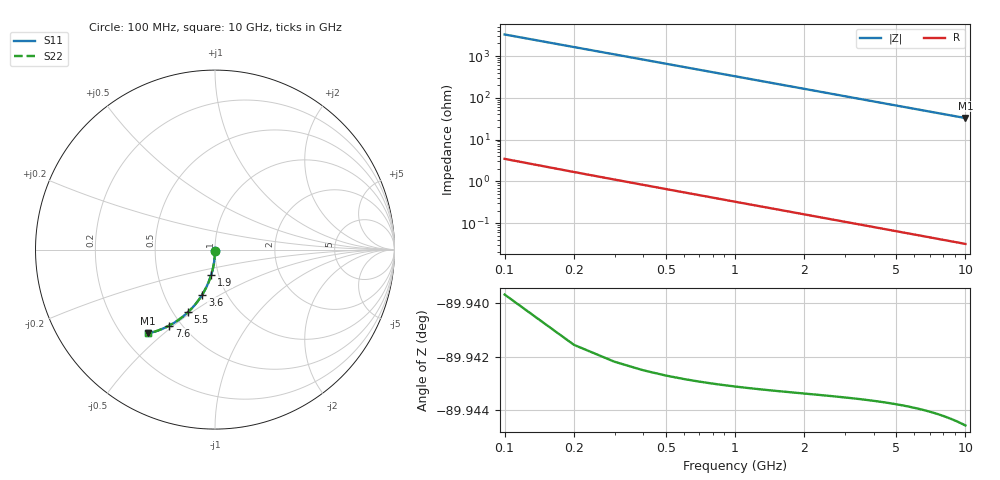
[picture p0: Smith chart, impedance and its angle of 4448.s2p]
# Hz S RI R 50.00
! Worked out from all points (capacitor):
!   100 points, 100 MHz to 10 GHz, reference 50 ohm
!   read as one part in shunt: C = 486 fF near 100 MHz
!   lowest |Z| = 32.8 ohm at 10 GHz (marker M1)
!   S11 on the Smith chart (normalised r, x): 100 MHz: 1.00, -0.01; 1.9 GHz: 0.92, -0.26; 3.6 GHz: 0.77, -0.41; 5.5 GHz: 0.59, -0.48; 7.6 GHz: 0.43, -0.48; 10 GHz: 0.31, -0.44
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1e8  -3.82e-05 -0.00747  0.9999 -0.00778  0.9999 -0.00778  -3.82e-05 -0.00747
2e8  -0.00022 -0.0149  0.9997 -0.0156  0.9997 -0.0156  -0.00022 -0.0149
3e8  -0.000518 -0.0224  0.9994 -0.0233  0.9994 -0.0233  -0.000518 -0.0224
4e8  -0.000932 -0.0299  0.999 -0.0311  0.999 -0.0311  -0.000932 -0.0299
5e8  -0.00146 -0.0373  0.9985 -0.0389  0.9985 -0.0389  -0.00146 -0.0373
6e8  -0.00211 -0.0448  0.9978 -0.0466  0.9978 -0.0466  -0.00211 -0.0448
8e8  -0.00374 -0.0596  0.9962 -0.0621  0.9962 -0.0621  -0.00374 -0.0596
1.1e9  -0.00705 -0.0817  0.9929 -0.0851  0.9929 -0.0851  -0.00705 -0.0817
1.4e9  -0.0114 -0.1035  0.9886 -0.1079  0.9886 -0.1079  -0.0114 -0.1035
1.8e9  -0.0187 -0.1321  0.9813 -0.1378  0.9813 -0.1378  -0.0187 -0.1321
1.9e9  -0.0207 -0.1392  0.9792 -0.1451  0.9792 -0.1451  -0.0207 -0.1392
2.2e9  -0.0276 -0.1601  0.9723 -0.167  0.9723 -0.167  -0.0276 -0.1601
2.6e9  -0.0382 -0.1872  0.9617 -0.1953  0.9617 -0.1953  -0.0382 -0.1872
3.4e9  -0.0637 -0.2384  0.9362 -0.2491  0.9362 -0.2491  -0.0637 -0.2384
3.6e9  -0.0708 -0.2505  0.929 -0.2618  0.929 -0.2618  -0.0708 -0.2505
4.3e9  -0.0982 -0.2904  0.9016 -0.304  0.9016 -0.304  -0.0982 -0.2904
5.1e9  -0.1331 -0.3312  0.8667 -0.3474  0.8667 -0.3474  -0.1331 -0.3312
5.5e9  -0.1516 -0.3495  0.8482 -0.367  0.8482 -0.367  -0.1516 -0.3495
6.7e9  -0.21 -0.3962  0.7897 -0.4176  0.7897 -0.4176  -0.21 -0.3962
7.6e9  -0.2552 -0.4234  0.7444 -0.4478  0.7444 -0.4478  -0.2552 -0.4234
8.4e9  -0.2954 -0.4423  0.7042 -0.4694  0.7042 -0.4694  -0.2954 -0.4423
1e10  -0.3733 -0.467  0.6261 -0.4995  0.6261 -0.4995  -0.3733 -0.467
